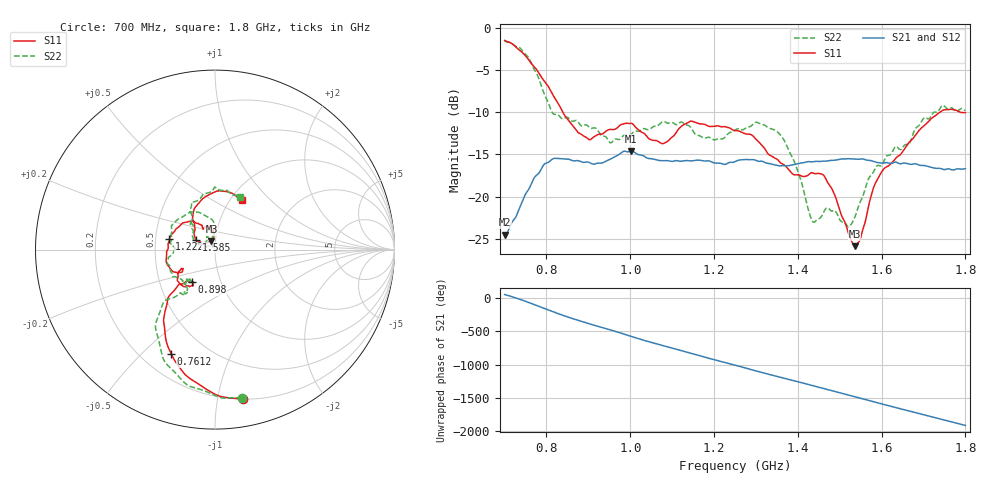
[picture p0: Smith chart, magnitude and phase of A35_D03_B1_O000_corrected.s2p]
! Created with skrf 1.9.0 (http://scikit-rf.org).
# Hz S RI R 50.0
!freq ReS11 ImS11 ReS21 ImS21 ReS12 ImS12 ReS22 ImS22
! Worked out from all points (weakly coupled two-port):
!   1601 points, 700 MHz to 1.8 GHz, reference 50 ohm
!   highest |S21| = -14.59 dB at 1.002 GHz (marker M1); lowest = -24.6 dB at 701.4 MHz (marker M2)
!   lowest |S11| = -25.9 dB at 1.535 GHz (marker M3), VSWR 1.11, Z = 47.8 + j4.46 ohm
!   |S11| at or under -10 dB: 839.4 MHz to 1.738 GHz (899 MHz wide, 69.7 % of centre); 1.789 GHz to end of sweep
!   |S22| runs from -23.6 to -1.5 dB; largest |S21 - S12| = 0.0034
!   S11 on the Smith chart (normalised r, x): 700 MHz: 0.20, -1.19; 761.2 MHz: 0.32, -0.62; 898 MHz: 0.73, -0.28; 1.222 GHz: 0.59, +0.07; 1.585 GHz: 0.80, +0.09; 1.8 GHz: 1.13, +0.69
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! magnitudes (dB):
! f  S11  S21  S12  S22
! 700 MHz  -1.4  -24.5  -24.3  -1.5
! 701.4 MHz  -1.5  -24.6  -24.2  -1.5
! 761.2 MHz  -4.0  -18.8  -18.7  -3.8
! 814.8 MHz  -7.9  -15.5  -15.6  -10.1
! 883.6 MHz  -12.6  -15.9  -15.8  -11.6
! 898 MHz  -13.1  -15.9  -16.0  -11.6
! 953 MHz  -12.0  -15.5  -15.5  -13.6
! 1.002 GHz  -11.3  -14.6  -14.7  -12.6
! 1.067 GHz  -13.5  -15.7  -15.6  -11.5
! 1.143 GHz  -11.1  -15.8  -15.7  -11.7
! 1.222 GHz  -11.7  -16.1  -16.2  -13.1
! 1.25 GHz  -12.2  -15.9  -15.8  -12.1
! 1.357 GHz  -15.9  -16.4  -16.3  -12.6
! 1.396 GHz  -17.4  -16.1  -16.1  -16.5
! 1.434 GHz  -17.2  -15.9  -15.8  -22.8
! 1.479 GHz  -18.9  -15.7  -15.7  -21.7
! 1.52 GHz  -24.2  -15.5  -15.5  -23.6
! 1.535 GHz  -25.9  -15.5  -15.5  -22.6
! 1.585 GHz  -18.4  -15.9  -15.9  -16.6
! 1.617 GHz  -16.3  -16.0  -16.0  -15.1
! 1.74 GHz  -9.9  -16.7  -16.7  -9.5
! 1.8 GHz  -10.0  -16.7  -16.7  -9.8
